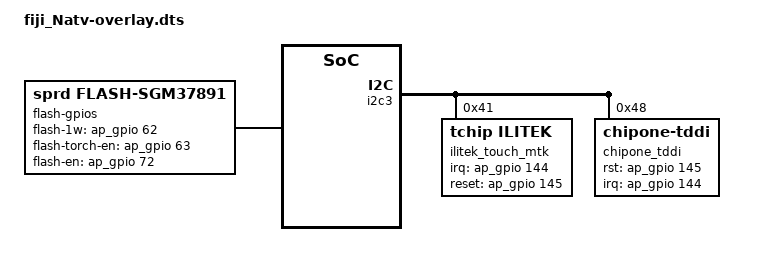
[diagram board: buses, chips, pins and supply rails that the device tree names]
/dts-v1/;
/plugin/;
#include <dt-bindings/gpio/gpio.h>

/ {
	fragment {
		target-path = "/";
		__overlay__ {
			fingerprint@0 {
				compatible = "microarray,afs121";
				//fpint-gpios = <&ap_gpio 130 0>;
			};

			flash-gpios {
				compatible = "sprd,flash-sgm37891";
				flash-ic = <37891>;
				flash-1w-gpios = <&ap_gpio 62 0>;
				flash-torch-en-gpios = <&ap_gpio 63 0>;
				flash-en-gpios = <&ap_gpio 72 0>;
			};
/*			pwm_backlight: sprd_backlight {
				compatible = "pwm-backlight";
				pwms = <&pwms 1 30000>;
				pwm-names = "backlight";
				brightness-levels = <
						  2   2   2   2   2   2   2   2
					  2   2   2   3   4   5   6   7   8   9
					 10  11  12  13  14  15  16  17  18  19
					 20  21  22  23  24  25  26  27  28  29
					 30  31  32  33  34  35  36  37  38  39
					 40  41  42  43  44  45  46  47  48  49
					 50  51  52  53  54  55  56  57  58  59
					 60  61  62  63  64  65  66  67  68  69
					 70  71  72  73  74  75  76  77  78  79
					 80  81  82  83  84  85  86  87  88  89
					 90  91  92  93  94  95  96  97  98  99
					100 101 102 103 104 105 106 107 108 109
					110 111 112 113 114 115 116 117 118 119
					120 121 122 123 124 125 126 127 128 129
					130 131 132 133 134 135 136 137 138 139
					140 141 142 143 144 145 146 147 148 149
					150 151 152 153 154 155 156 157 158 159
					160 161 162 163 164 165 166 167 168 169
					170 171 172 173 174 175 176 177 178 179
					180 181 182 183 184 185 186 187 188 189
					190 191 192 193 194 195 196 197 198 199
					200 201 202 203 204 205 206 207 208 209
					210 211 212 213 214 215 216 217 218 219
					220 221 222 223 224 225 226 227 228 229
					230 231 232 233 234 235 236 237 238 239
					240 241 242 243 244 245 246 247
				>;
				default-brightness-level = <33>;
			};*/
		};
	};
};

&i2c3 {
	status = "okay";

	ilitek_touch_mtk:ilitek_touch@41{
		compatible = "tchip,ilitek";
		reg = <0x41>;
		touch,irq-gpio = <&ap_gpio 144 0>;
		touch,reset-gpio = <&ap_gpio 145 0>;
		status = "okay";
	};

        chipone_tddi@48 {
                status = "ok";
                compatible = "chipone-tddi";
                reg = <0x48>;
                interrupt-parent = <&ap_gpio>;
                interrupts = <144 0x2008>;

                chipone,rst-gpio = <&ap_gpio 145 0x00>;
                chipone,irq-gpio = <&ap_gpio 144 0x00>;
                chipone,x-res = <720>;
                chipone,y-res = <1560>;

                /* Charger detect */
                chipone,touch-charger-detect-enable;
                chipone,touch-charger-detect-type = "notify"; /* notify, poll */
                chipone,touch-charger-detect-psy-name = "charger";
                chipone,touch-charger-detect-psp = "POWER_SUPPLY_PROP_ONLINE";
                chipone,touch-charger-detect-psp-poll-interval = <1000>;

                /* Earjack detect */
                chipone,touch-earjack-detect-enable;
                /* MTK:  /sys/bus/platform/drivers/Accdet_Driver/state,
                   Sprd: /sys/kernel/headset/state
                   QCOM: None, and disable it */
                chipone,touch-earjack-state-filepath = "/sys/kernel/headset/state";
                chipone,touch-earjack-poll-interval = <1000>;
       };
};

&ddr_dfs {
	sprd-scene = "boost", "lcdon", "lcdoff", "camlow",
			"camhigh", "camveryhigh";
	sprd-freq = <933 400 233 400 622 933>;
};
